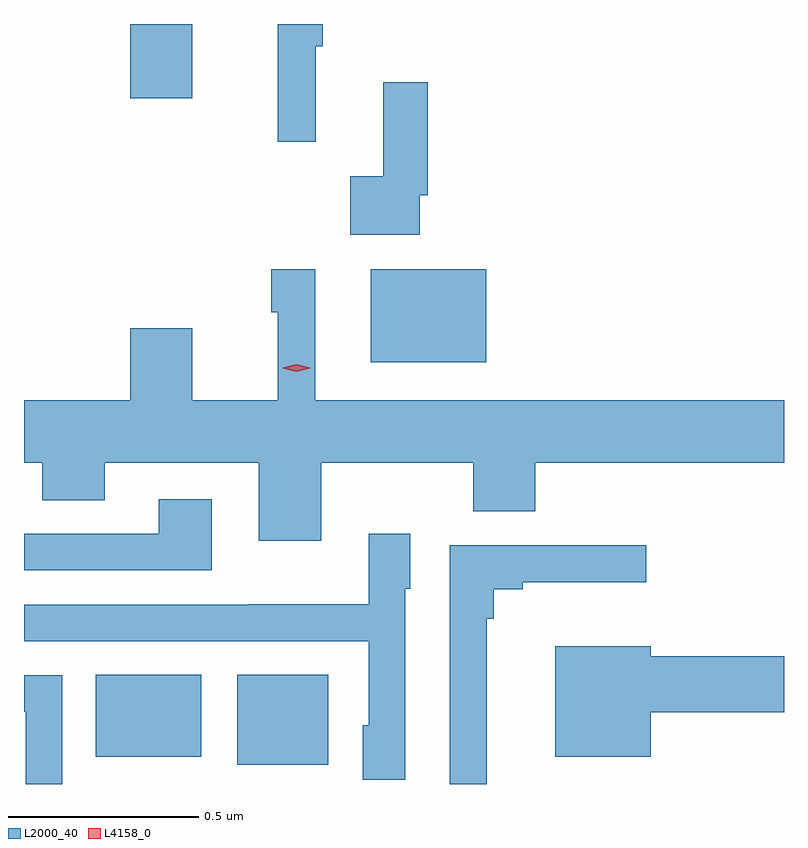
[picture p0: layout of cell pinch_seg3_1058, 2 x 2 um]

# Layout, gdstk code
import gdstk
lib = gdstk.Library(unit=1e-6, precision=1e-09)
def R(c, l, rs):  # rectangles x0, y0, x1, y1
    for r in rs: c.add(gdstk.rectangle(r[:2], r[2:], *l))
def P(c, l, *ps):  # polygons
    for p in ps: c.add(gdstk.Polygon(p, *l))
L2000_40 = (2000, 40)
L4158_0 = (4158, 0)

pinch_seg3_1058 = lib.new_cell('pinch_seg3_1058')
R(pinch_seg3_1058, L2000_40, [(536.918,688.133,537.157,688.369), (536.546,688.154,536.824,688.369), (537.269,689.192,537.574,689.437), (536.636,689.886,536.8,690.082)])
P(pinch_seg3_1058, L2000_40, [(537.125,690.024),(537.143,690.024),(537.143,690.082),(537.025,690.082),(537.025,689.772),(537.125,689.772)],
  [(537.399,689.632),(537.419,689.632),(537.419,689.929),(537.302,689.929),(537.302,689.681),(537.216,689.681),(537.216,689.528),(537.399,689.528)],
  [(537.139,688.928),(537.539,688.928),(537.539,688.8),(537.703,688.8),(537.703,688.928),(538.357,688.928),(538.357,689.092),(537.124,689.092),(537.124,689.437),(537.007,689.437),(537.007,689.324),(537.025,689.324),(537.025,689.092),(536.8,689.092),(536.8,689.281),(536.636,689.281),(536.636,689.092),(536.357,689.092),(536.357,688.928),(536.405,688.928),(536.405,688.829),(536.569,688.829),(536.569,688.928),(536.975,688.928),(536.975,688.722),(537.139,688.722)],
  [(536.851,688.831),(536.711,688.831),(536.711,688.74),(536.357,688.74),(536.357,688.644),(536.851,688.644)],
  [(537.36,688.596),(537.373,688.596),(537.373,688.741),(537.264,688.741),(537.264,688.555),(536.947,688.555),(536.947,688.554),(536.357,688.554),(536.357,688.458),(537.264,688.458),(537.264,688.236),(537.248,688.236),(537.248,688.093),(537.36,688.093)],
  [(537.575,688.517),(537.593,688.517),(537.593,688.594),(537.67,688.594),(537.67,688.613),(537.994,688.613),(537.994,688.71),(537.477,688.71),(537.477,688.082),(537.575,688.082)],
  [(538.006,688.271),(538.357,688.271),(538.357,688.418),(538.006,688.418),(538.006,688.444),(537.755,688.444),(537.755,688.154),(538.006,688.154)],
  [(536.457,688.368),(536.357,688.368),(536.357,688.272),(536.361,688.272),(536.361,688.082),(536.457,688.082)])
P(pinch_seg3_1058, L4158_0, [(537.074,689.167),(537.038,689.176),(537.038,689.177),(537.038,689.177),(537.074,689.187),(537.11,689.177),(537.11,689.177),(537.11,689.176)])

lib.write_gds('pinch_seg3_1058.gds')
